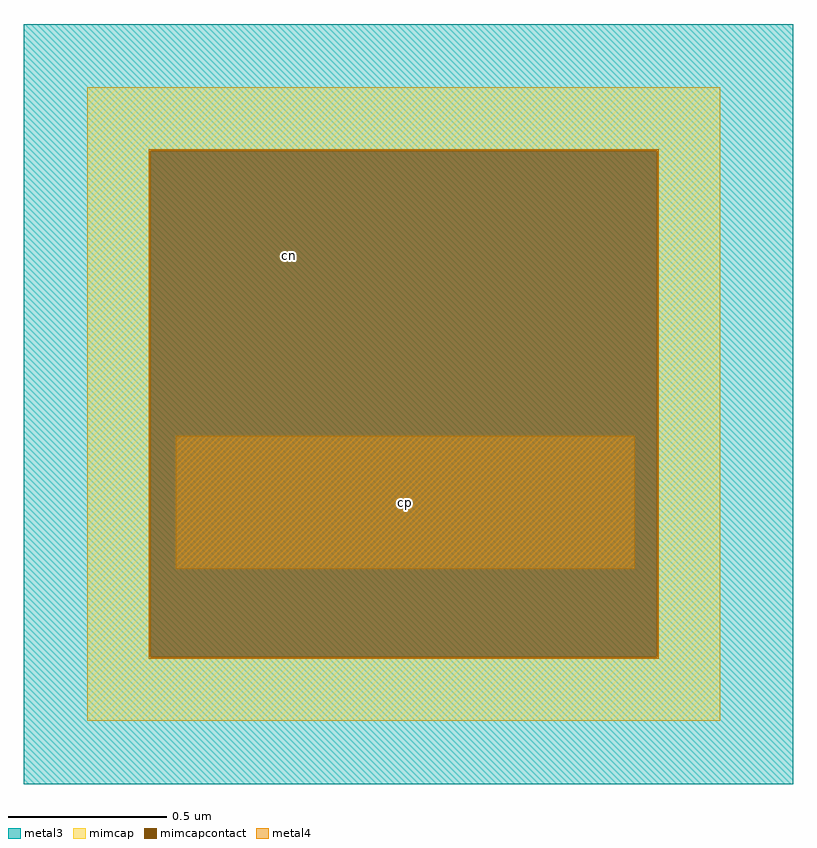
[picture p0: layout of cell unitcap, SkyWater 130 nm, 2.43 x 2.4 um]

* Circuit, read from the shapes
.subckt unitcap cp cn
XC1 cp cn sky130_fd_pr__cap_mim_m3_1 w=2 l=2
.ends

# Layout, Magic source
magic
tech sky130B
<< metal3 >>
rect 49 147 194 189
<< metal4 >>
rect 48 68 193 110
use sky130_fd_pr__cap_mim_m3_1_FJK8MD#0  sky130_fd_pr__cap_mim_m3_1_FJK8MD_0
transform 1 0 193 0 1 120
box -193 -120 50 120
<< labels >>
flabel metal3 84 167 84 167 0 FreeSans 160 0 0 0 cn
port 1 nsew
flabel metal4 48 68 193 110 0 FreeSans 160 0 0 0 cp
port 0 nsew
<< end >>

# cell sky130_fd_pr__cap_mim_m3_1_FJK8MD#0: kit device sky130_fd_pr__cap_mim_m3_1, w 2.00 l 2.00 val 9.52 carea 2.00 cperi 0.19 nx 1 ny 1 dummy 0 square 0 lmin 2.00 wmin 2.00 lmax 30.0 wmax 30.0 dc 0 bconnect 0 tconnect 0 ccov 100
